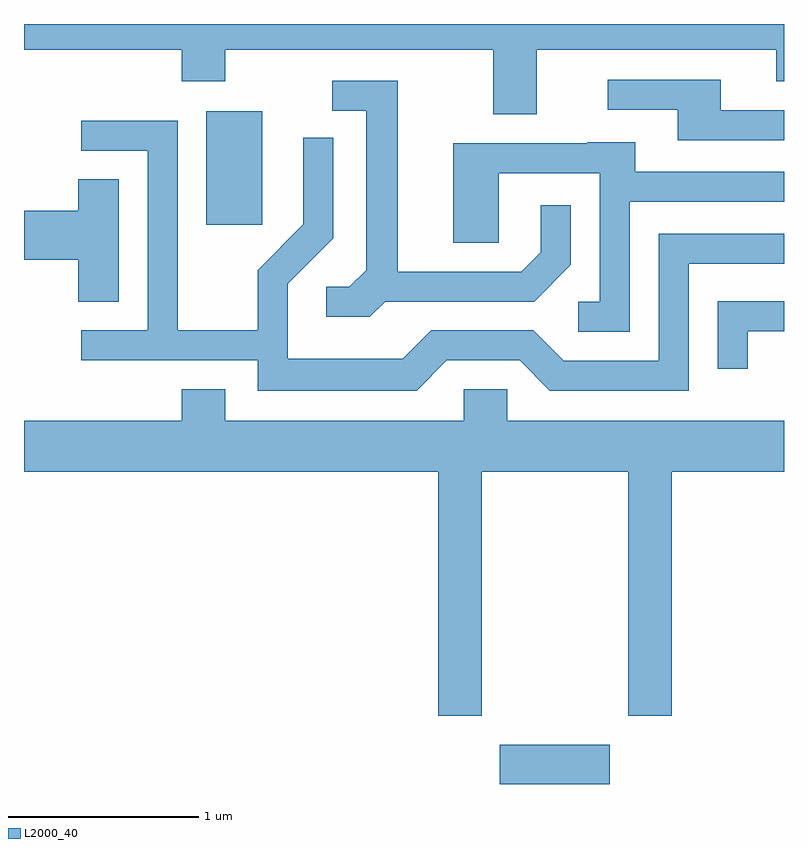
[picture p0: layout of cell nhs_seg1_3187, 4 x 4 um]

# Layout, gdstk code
import gdstk
lib = gdstk.Library(unit=1e-6, precision=1e-09)
def R(c, l, rs):  # rectangles x0, y0, x1, y1
    for r in rs: c.add(gdstk.rectangle(r[:2], r[2:], *l))
def P(c, l, *ps):  # polygons
    for p in ps: c.add(gdstk.Polygon(p, *l))
L2000_40 = (2000, 40)

nhs_seg1_3187 = lib.new_cell('nhs_seg1_3187')
R(nhs_seg1_3187, L2000_40, [(284.116,895.712,284.694,895.919), (282.571,898.656,282.864,899.254)])
P(nhs_seg1_3187, L2000_40, [(284.309,899.576),(285.571,899.576),(285.571,899.411),(285.611,899.411),(285.611,899.712),(281.611,899.712),(281.611,899.576),(282.441,899.576),(282.441,899.411),(282.669,899.411),(282.669,899.576),(284.081,899.576),(284.081,899.236),(284.309,899.236)],
  [(285.611,899.259),(285.279,899.259),(285.279,899.419),(284.683,899.419),(284.683,899.261),(285.051,899.261),(285.051,899.101),(285.611,899.101)],
  [(283.512,898.251),(284.297,898.251),(284.489,898.444),(284.489,898.758),(284.331,898.758),(284.331,898.512),(284.229,898.409),(283.579,898.409),(283.579,899.414),(283.233,899.414),(283.233,899.256),(283.411,899.256),(283.411,898.417),(283.324,898.329),(283.203,898.329),(283.203,898.171),(283.432,898.171)],
  [(283.837,897.941),(284.219,897.941),(284.379,897.781),(285.109,897.781),(285.109,898.451),(285.611,898.451),(285.611,898.609),(284.951,898.609),(284.951,897.939),(284.452,897.939),(284.292,898.099),(283.754,898.099),(283.604,897.949),(282.999,897.949),(282.999,898.344),(283.239,898.584),(283.239,899.113),(283.081,899.113),(283.081,898.657),(282.841,898.417),(282.841,898.099),(282.419,898.099),(282.419,899.204),(281.913,899.204),(281.913,899.046),(282.261,899.046),(282.261,898.099),(281.913,898.099),(281.913,897.941),(282.841,897.941),(282.841,897.781),(283.677,897.781)],
  [(284.799,898.776),(285.611,898.776),(285.611,898.934),(284.829,898.934),(284.829,899.089),(284.575,899.089),(284.575,899.084),(283.871,899.084),(283.871,898.561),(284.109,898.561),(284.109,898.926),(284.641,898.926),(284.641,898.249),(284.528,898.249),(284.528,898.091),(284.799,898.091)],
  [(282.109,898.894),(281.896,898.894),(281.896,898.729),(281.611,898.729),(281.611,898.471),(281.896,898.471),(281.896,898.251),(282.109,898.251)],
  [(285.419,898.096),(285.611,898.096),(285.611,898.254),(285.261,898.254),(285.261,897.898),(285.419,897.898)],
  [(284.019,897.356),(284.791,897.356),(284.791,896.071),(285.019,896.071),(285.019,897.356),(285.611,897.356),(285.611,897.624),(284.154,897.624),(284.154,897.789),(283.926,897.789),(283.926,897.624),(282.669,897.624),(282.669,897.789),(282.441,897.789),(282.441,897.624),(281.611,897.624),(281.611,897.356),(283.791,897.356),(283.791,896.071),(284.019,896.071)])

lib.write_gds('nhs_seg1_3187.gds')
